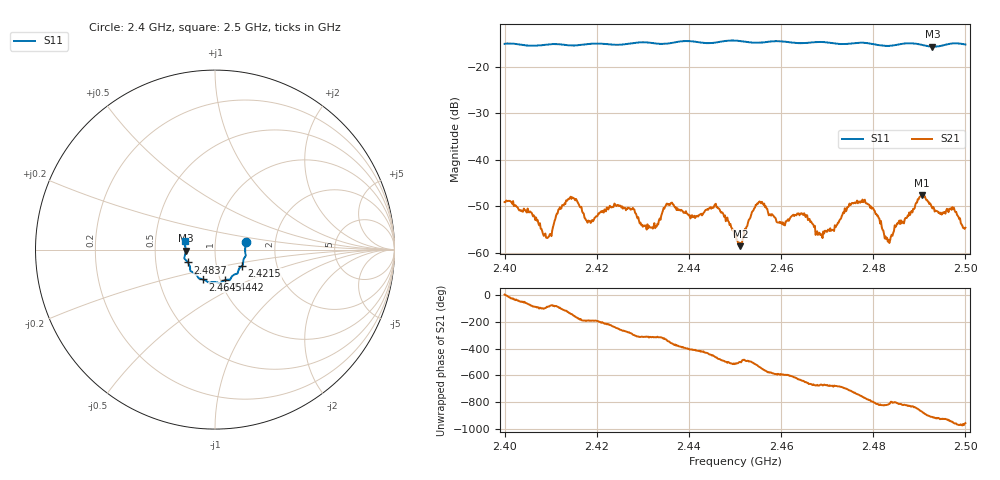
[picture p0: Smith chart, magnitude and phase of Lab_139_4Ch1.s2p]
# Hz S RI R 50
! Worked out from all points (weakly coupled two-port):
!   601 points, 2.4 GHz to 2.5 GHz, reference 50 ohm
!   highest |S21| = -47.66 dB at 2.4905 GHz (marker M1); lowest = -58.6 dB at 2.4512 GHz (marker M2)
!   lowest |S11| = -15.7 dB at 2.4928 GHz (marker M3), VSWR 1.39, Z = 35.9 - j0.39 ohm
!   |S11| at or under -10 dB: start of sweep to end of sweep
!   S12 and S22 are empty: the file has one direction only
!   S11 on the Smith chart (normalised r, x): 2.4 GHz: 1.41, +0.12; 2.4215 GHz: 1.33, -0.25; 2.4442 GHz: 1.05, -0.37; 2.4645 GHz: 0.83, -0.29; 2.4837 GHz: 0.73, -0.11; 2.5 GHz: 0.71, +0.07
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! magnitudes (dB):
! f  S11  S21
! 2.4 GHz  -15.1  -49.2
! 2.409 GHz  -15.3  -56.8
! 2.4138 GHz  -15.4  -48.5
! 2.4167 GHz  -15.3  -50.2
! 2.4183 GHz  -15.1  -53.3
! 2.4215 GHz  -15.1  -51.4
! 2.4333 GHz  -15.1  -54.0
! 2.4357 GHz  -15.0  -49.6
! 2.4442 GHz  -15.0  -50.8
! 2.45 GHz  -14.4  -56.6
! 2.4512 GHz  -14.5  -58.6
! 2.455 GHz  -14.9  -49.5
! 2.4603 GHz  -14.6  -53.5
! 2.4645 GHz  -15.0  -51.6
! 2.4667 GHz  -14.8  -53.6
! 2.471 GHz  -14.9  -55.2
! 2.4778 GHz  -14.9  -49.2
! 2.4833 GHz  -15.6  -57.3
! 2.4837 GHz  -15.5  -57.4
! 2.4905 GHz  -15.3  -47.7
! 2.4928 GHz  -15.7  -50.5
! 2.5 GHz  -15.3  -54.7
